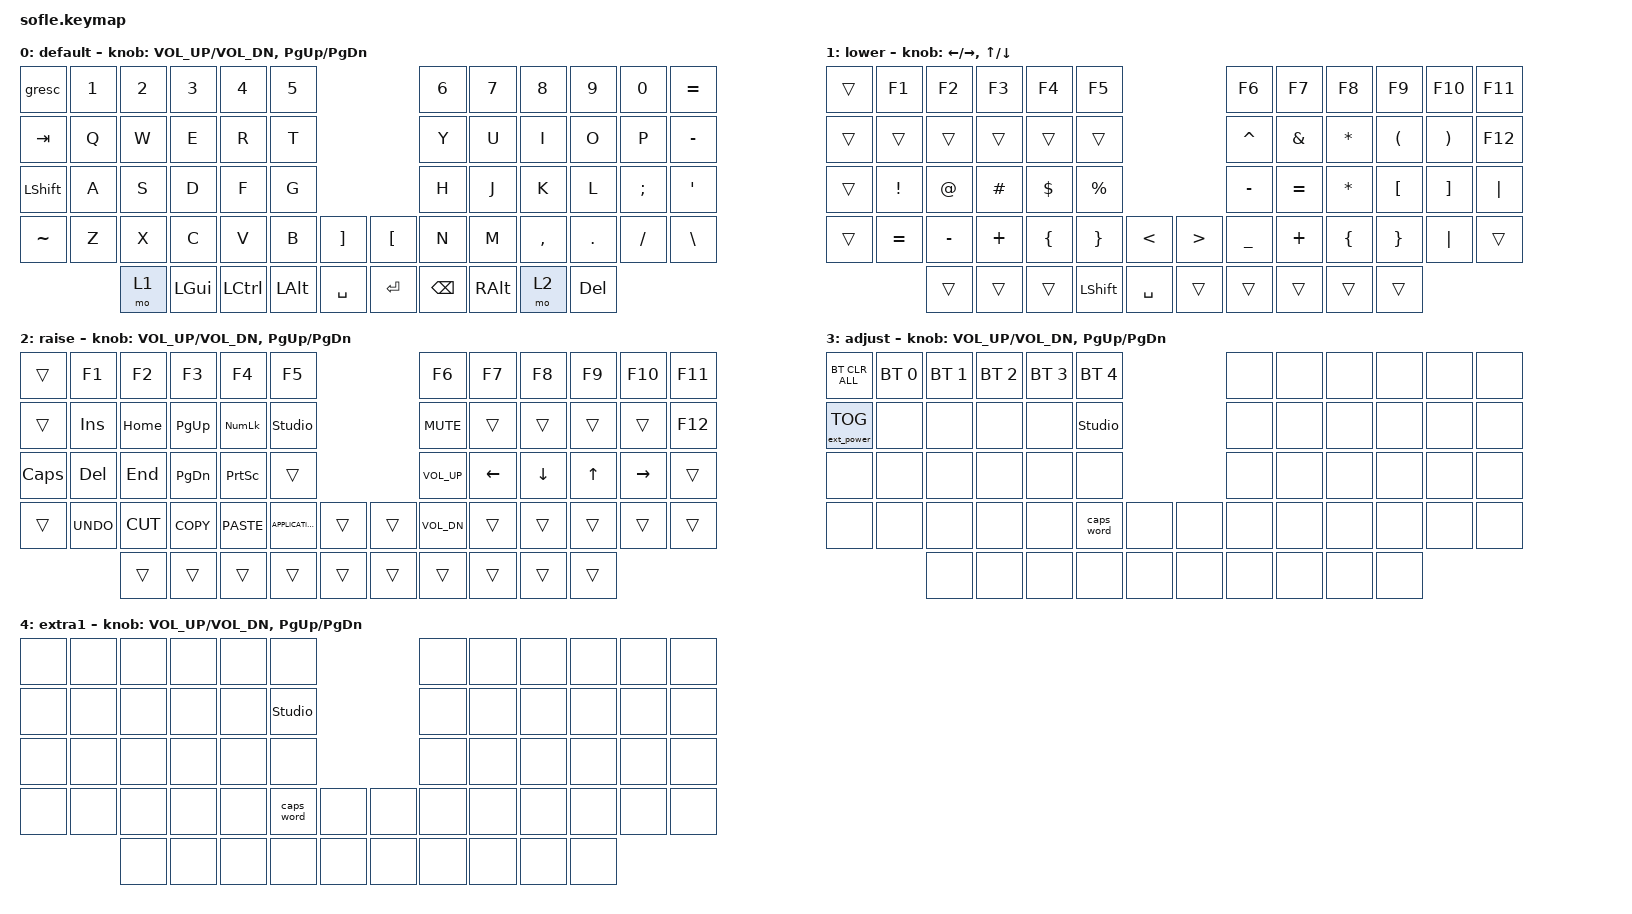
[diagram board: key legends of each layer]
/*
 * Copyright (c) 2020 The ZMK Contributors
 *
 * SPDX-License-Identifier: MIT
 */

#include <behaviors.dtsi>
#include <dt-bindings/zmk/bt.h>
#include <dt-bindings/zmk/ext_power.h>
#include <dt-bindings/zmk/keys.h>

#define BASE 0
#define LOWER 1
#define RAISE 2
#define ADJUST 3
#define extra_layer 4

/ {
    // Activate ADJUST layer by pressing raise and lower

    conditional_layers {
        compatible = "zmk,conditional-layers";

        adjust_layer {
            if-layers = <LOWER RAISE>;
            then-layer = <ADJUST>;
        };
    };

    combos {
        compatible = "zmk,combos";

        backspace {
            bindings = <&kp BACKSPACE>;
            key-positions = <32 31>;
        };

        delete {
            bindings = <&kp DELETE>;
            key-positions = <27 33>;
        };

        esc {
            bindings = <&kp ESCAPE>;
            key-positions = <25 41>;
        };
    };

    behaviors {
        caps: caps {
            compatible = "zmk,behavior-caps-word";
            label = "CAPS";
            #binding-cells = <0>;
            continue-list = <POUND MINUS BACKSPACE UNDERSCORE>;
        };
    };

    keymap {
        compatible = "zmk,keymap";

        default_layer {
            display-name = "default";

            // ------------------------------------------------------------------------------------------------------------
            // |   `   |  1  |  2  |  3   |  4   |  5   |                   |  6   |  7    |  8    |  9   |   0   |       |
            // |  ESC  |  Q  |  W  |  E   |  R   |  T   |                   |  Y   |  U    |  I    |  O   |   P   | BKSPC |
            // |  TAB  |  A  |  S  |  D   |  F   |  G   |                   |  H   |  J    |  K    |  L   |   ;   |   '   |
            // | SHIFT |  Z  |  X  |  C   |  V   |  B   |  MUTE  |  |       |  N   |  M    |  ,    |  .   |   /   | SHIFT |
            //               | GUI | ALT  | CTRL | LOWER|  ENTER |  | SPACE | RAISE| CTRL  | ALT   | GUI  |

            bindings = <
&gresc          &kp N1  &kp N2  &kp N3        &kp N4     &kp N5                                               &kp N6         &kp N7         &kp N8     &kp N9      &kp N0    &kp EQUAL
&kp TAB         &kp Q   &kp W   &kp E         &kp R      &kp T                                                &kp Y          &kp U          &kp I      &kp O       &kp P     &kp MINUS
&kp LEFT_SHIFT  &kp A   &kp S   &kp D         &kp F      &kp G                                                &kp H          &kp J          &kp K      &kp L       &kp SEMI  &kp SQT
&kp TILDE       &kp Z   &kp X   &kp C         &kp V      &kp B         &kp RIGHT_BRACKET    &kp LEFT_BRACKET  &kp N          &kp M          &kp COMMA  &kp DOT     &kp FSLH  &kp BACKSLASH
                        &mo 1   &kp LEFT_GUI  &kp LCTRL  &kp LEFT_ALT  &kp SPACE            &kp ENTER         &kp BACKSPACE  &kp RIGHT_ALT  &mo 2      &kp DELETE
            >;

            sensor-bindings = <&inc_dec_kp C_VOL_UP C_VOL_DN &inc_dec_kp PG_UP PG_DN>;
        };

        lower_layer {
            display-name = "lower";

            // TODO: Some binds are waiting for shifted keycode support.
            // ------------------------------------------------------------------------------------------------------------
            // |       |  F1 |  F2 |  F3  |  F4  |  F5  |                   |  F6  |  F7   |  F8   |  F9  |  F10  |  F11  |
            // |   `   |  1  |  2  |  3   |  4   |  5   |                   |  6   |  7    |  8    |  9   |   0   |  F12  |
            // |       |  !  |  @  |  #   |  $   |  %   |                   |  ^   |  &    |  *    |  (   |   )   |   |   |
            // |       |  =  |  -  |  +   |  {   |  }   |        |  |       |  [   |  ]    |  ;    |  :   |   \   |       |
            //               |     |      |      |      |        |  |       |      |       |       |      |

            bindings = <
&trans  &kp F1     &kp F2     &kp F3    &kp F4    &kp F5                                    &kp F6          &kp F7         &kp F8          &kp F9                &kp F10                &kp F11
&trans  &trans     &trans     &trans    &trans    &trans                                    &kp CARET       &kp AMPERSAND  &kp ASTRK       &kp LEFT_PARENTHESIS  &kp RIGHT_PARENTHESIS  &kp F12
&trans  &kp EXCL   &kp AT     &kp HASH  &kp DLLR  &kp PRCNT                                 &kp MINUS       &kp EQUAL      &kp ASTRK       &kp LEFT_BRACKET      &kp RIGHT_BRACKET      &kp PIPE
&trans  &kp EQUAL  &kp MINUS  &kp PLUS  &kp LBRC  &kp RBRC   &kp LT       &kp GREATER_THAN  &kp UNDERSCORE  &kp PLUS       &kp LEFT_BRACE  &kp RIGHT_BRACE       &kp PIPE               &trans
                   &trans     &trans    &trans    &kp LSHFT  &kp SPACE    &trans            &trans          &trans         &trans          &trans
            >;

            sensor-bindings =
                <&inc_dec_kp LEFT_ARROW RIGHT_ARROW>,
                <&inc_dec_kp UP_ARROW DOWN_ARROW>;
        };

        raise_layer {
            display-name = "raise";

            // ------------------------------------------------------------------------------------------------------------
            // | BTCLR | BT1  | BT2  |  BT3  |  BT4  |  BT5 |                |      |      |       |      |       |       |
            // |       | INS  | PSCR | GUI   |       |      |                | PGUP |      |   ^   |      |       |       |
            // |       | ALT  | CTRL | SHIFT |       | CAPS |                | PGDN |   <- |   v   |  ->  |  DEL  | BKSPC |
            // |       | UNDO | CUT  | COPY  | PASTE |      |      |  |      |      |      |       |      |       |       |
            //                |      |       |       |      |      |  |      |      |      |       |      |

            bindings = <
&trans    &kp F1      &kp F2     &kp F3         &kp F4           &kp F5                               &kp F6           &kp F7    &kp F8          &kp F9        &kp F10    &kp F11
&trans    &kp INS     &kp HOME   &kp PAGE_UP    &kp KP_NUMLOCK   &studio_unlock                       &kp K_MUTE       &trans    &trans          &trans        &trans     &kp F12
&kp CAPS  &kp DELETE  &kp END    &kp PAGE_DOWN  &kp PRINTSCREEN  &trans                               &kp C_VOLUME_UP  &kp LEFT  &kp DOWN_ARROW  &kp UP_ARROW  &kp RIGHT  &trans
&trans    &kp K_UNDO  &kp K_CUT  &kp K_COPY     &kp K_PASTE      &kp K_APPLICATION  &trans    &trans  &kp C_VOL_DN     &trans    &trans          &trans        &trans     &trans
                      &trans     &trans         &trans           &trans             &trans    &trans  &trans           &trans    &trans          &trans
            >;

            sensor-bindings = <&inc_dec_kp C_VOL_UP C_VOL_DN &inc_dec_kp PG_UP PG_DN>;
        };

        adjust_layer {
            // ----------------------------------------------------------------------------------------------------------------------------
            // | BTCLR  |  BT1    |  BT2    |   BT3   |   BT4   |   BT5   |                  |      |      |       |      |       |       |
            // | EXTPWR | RGB_HUD | RGB_HUI | RGB_SAD | RGB_SAI | RGB_EFF |                  |      |      |       |      |       |       |
            // |        | RGB_BRD | RGB_BRI |         |         |         |                  |      |      |       |      |       |       |
            // |        |         |         |         |         |         | RGB_TOG | |      |      |      |       |      |       |       |
            //                    |         |         |         |         |         | |      |      |      |       |      |

            display-name = "adjust";
            bindings = <
&bt BT_CLR_ALL     &bt BT_SEL 0  &bt BT_SEL 1  &bt BT_SEL 2  &bt BT_SEL 3  &bt BT_SEL 4                    &none  &none  &none  &none  &none  &none
&ext_power EP_TOG  &none         &none         &none         &none         &studio_unlock                  &none  &none  &none  &none  &none  &none
&none              &none         &none         &none         &none         &none                           &none  &none  &none  &none  &none  &none
&none              &none         &none         &none         &none         &caps_word      &none    &none  &none  &none  &none  &none  &none  &none
                                 &none         &none         &none         &none           &none    &none  &none  &none  &none  &none
            >;

            sensor-bindings = <&inc_dec_kp C_VOL_UP C_VOL_DN &inc_dec_kp PG_UP PG_DN>;
        };

        extra_layer {
            // ----------------------------------------------------------------------------------------------------------------------------
            // | BTCLR  |  BT1    |  BT2    |   BT3   |   BT4   |   BT5   |                  |      |      |       |      |       |       |
            // | EXTPWR | RGB_HUD | RGB_HUI | RGB_SAD | RGB_SAI | RGB_EFF |                  |      |      |       |      |       |       |
            // |        | RGB_BRD | RGB_BRI |         |         |         |                  |      |      |       |      |       |       |
            // |        |         |         |         |         |         | RGB_TOG | |      |      |      |       |      |       |       |
            //                    |         |         |         |         |         | |      |      |      |       |      |

            display-name = "extra1";
            bindings = <
&none  &none  &none  &none  &none  &none                           &none  &none  &none  &none  &none  &none
&none  &none  &none  &none  &none  &studio_unlock                  &none  &none  &none  &none  &none  &none
&none  &none  &none  &none  &none  &none                           &none  &none  &none  &none  &none  &none
&none  &none  &none  &none  &none  &caps_word      &none    &none  &none  &none  &none  &none  &none  &none
              &none  &none  &none  &none           &none    &none  &none  &none  &none  &none
            >;

            sensor-bindings = <&inc_dec_kp C_VOL_UP C_VOL_DN &inc_dec_kp PG_UP PG_DN>;
        };
    };
};
